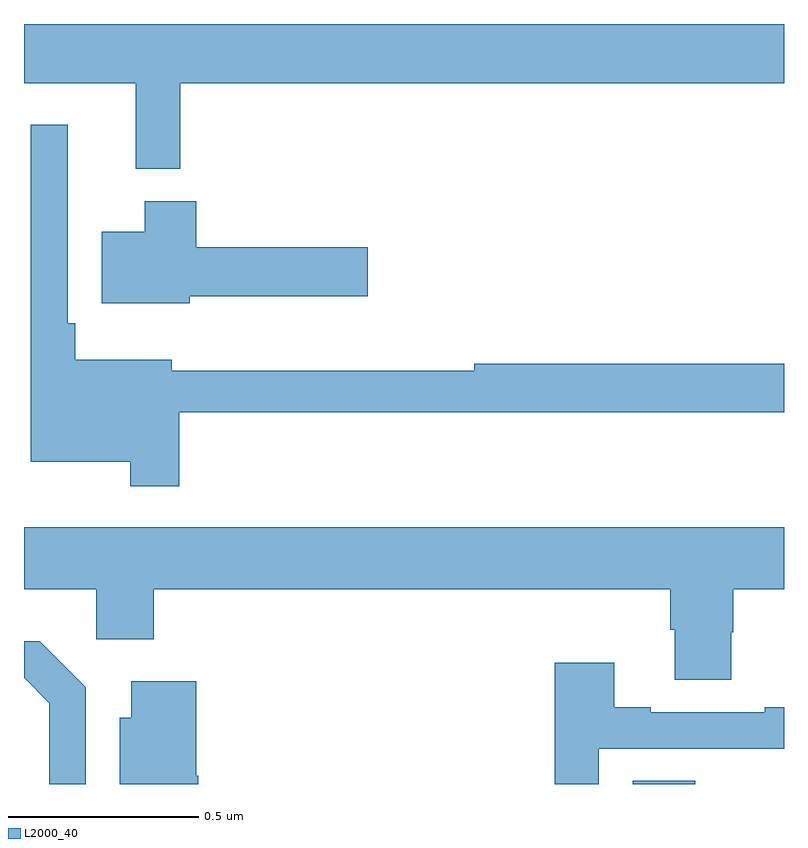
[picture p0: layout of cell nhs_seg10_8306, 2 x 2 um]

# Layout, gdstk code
import gdstk
lib = gdstk.Library(unit=1e-6, precision=1e-09)
def R(c, l, rs):  # rectangles x0, y0, x1, y1
    for r in rs: c.add(gdstk.rectangle(r[:2], r[2:], *l))
def P(c, l, *ps):  # polygons
    for p in ps: c.add(gdstk.Polygon(p, *l))
L2000_40 = (2000, 40)

nhs_seg10_8306 = lib.new_cell('nhs_seg10_8306')
R(nhs_seg10_8306, L2000_40, [(216.602,1270.5,216.766,1270.508)])
P(nhs_seg10_8306, L2000_40, [(215.411,1272.344),(217,1272.344),(217,1272.5),(215,1272.5),(215,1272.344),(215.294,1272.344),(215.294,1272.119),(215.411,1272.119)],
  [(215.408,1271.478),(217,1271.478),(217,1271.606),(216.185,1271.606),(216.185,1271.588),(215.389,1271.588),(215.389,1271.617),(215.135,1271.617),(215.135,1271.713),(215.115,1271.713),(215.115,1272.235),(215.018,1272.235),(215.018,1271.348),(215.28,1271.348),(215.28,1271.283),(215.408,1271.283)],
  [(215.436,1271.783),(215.905,1271.783),(215.905,1271.913),(215.453,1271.913),(215.453,1272.034),(215.318,1272.034),(215.318,1271.953),(215.204,1271.953),(215.204,1271.765),(215.436,1271.765)],
  [(216.861,1270.899),(216.866,1270.899),(216.866,1271.012),(217,1271.012),(217,1271.176),(215,1271.176),(215,1271.012),(215.19,1271.012),(215.19,1270.881),(215.342,1270.881),(215.342,1271.012),(216.701,1271.012),(216.701,1270.906),(216.713,1270.906),(216.713,1270.774),(216.861,1270.774)],
  [(215.163,1270.755),(215.042,1270.876),(215,1270.876),(215,1270.779),(215.001,1270.779),(215.067,1270.713),(215.067,1270.5),(215.163,1270.5)],
  [(216.513,1270.593),(217,1270.593),(217,1270.702),(216.949,1270.702),(216.949,1270.689),(216.649,1270.689),(216.649,1270.702),(216.553,1270.702),(216.553,1270.819),(216.397,1270.819),(216.397,1270.5),(216.513,1270.5)],
  [(215.459,1270.522),(215.453,1270.522),(215.453,1270.771),(215.282,1270.771),(215.282,1270.675),(215.252,1270.675),(215.252,1270.5),(215.459,1270.5)])

lib.write_gds('nhs_seg10_8306.gds')
